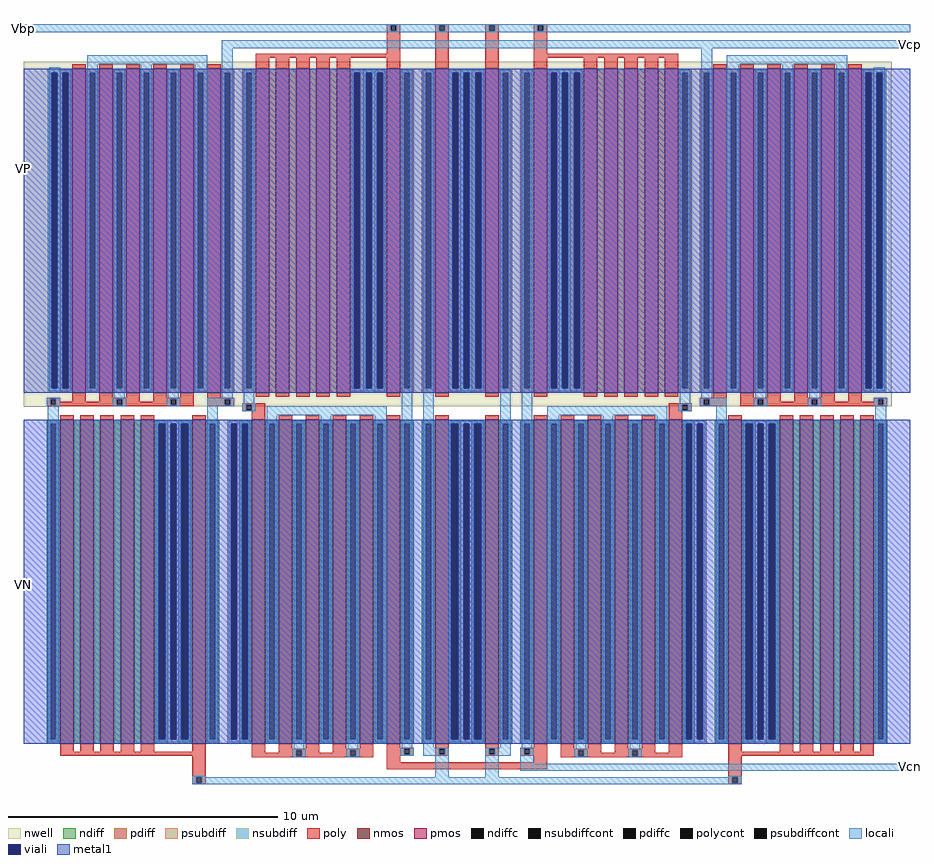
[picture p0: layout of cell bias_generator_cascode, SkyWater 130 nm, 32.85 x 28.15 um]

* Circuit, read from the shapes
.subckt bias_generator_cascode Vbp Vcp VP Vcn VN
XM1 n1 n2 n3 VN sky130_fd_pr__nfet_01v8 w=12 l=0.5
XM2 n4 n2 n1 VN sky130_fd_pr__nfet_01v8 w=12 l=0.5
XM3 n5 n2 n4 VN sky130_fd_pr__nfet_01v8 w=12 l=0.5
XM4 n6 n2 n5 VN sky130_fd_pr__nfet_01v8 w=12 l=0.5
XM5 VN n2 n6 VN sky130_fd_pr__nfet_01v8 w=12 l=0.5
XM6 Vcp n2 VN VN sky130_fd_pr__nfet_01v8 w=12 l=0.5 m=2
XM7 n7 n8 VN VN sky130_fd_pr__nfet_01v8 w=12 l=0.5
XM8 n8 n8 n7 VN sky130_fd_pr__nfet_01v8 w=12 l=0.5 m=4
XM9 Vcn Vcn n7 VN sky130_fd_pr__nfet_01v8 w=12 l=0.5
XM10 VN n2 n2 VN sky130_fd_pr__nfet_01v8 w=12 l=0.5 m=2
XM11 n9 Vcn Vcn VN sky130_fd_pr__nfet_01v8 w=12 l=0.5
XM12 n10 n10 n9 VN sky130_fd_pr__nfet_01v8 w=12 l=0.5 m=4
XM13 VN n10 n9 VN sky130_fd_pr__nfet_01v8 w=12 l=0.5
XM14 n11 n2 VN VN sky130_fd_pr__nfet_01v8 w=12 l=0.5
XM15 n12 n2 n11 VN sky130_fd_pr__nfet_01v8 w=12 l=0.5
XM16 n13 n2 n12 VN sky130_fd_pr__nfet_01v8 w=12 l=0.5
XM17 n14 n2 n13 VN sky130_fd_pr__nfet_01v8 w=12 l=0.5
XM18 n15 n2 n14 VN sky130_fd_pr__nfet_01v8 w=12 l=0.5
XM19 n16 n3 VP VP sky130_fd_pr__pfet_01v8 w=12 l=0.5
XM20 n3 n3 n16 VP sky130_fd_pr__pfet_01v8 w=12 l=0.5 m=4
XM21 Vcp Vcp n16 VP sky130_fd_pr__pfet_01v8 w=12 l=0.5
XM22 n17 Vbp n8 VP sky130_fd_pr__pfet_01v8 w=12 l=0.5
XM23 n18 Vbp n17 VP sky130_fd_pr__pfet_01v8 w=12 l=0.5
XM24 n19 Vbp n18 VP sky130_fd_pr__pfet_01v8 w=12 l=0.5
XM25 n20 Vbp n19 VP sky130_fd_pr__pfet_01v8 w=12 l=0.5
XM26 VP Vbp n20 VP sky130_fd_pr__pfet_01v8 w=12 l=0.5
XM27 Vcn Vbp VP VP sky130_fd_pr__pfet_01v8 w=12 l=0.5 m=2
XM28 VP Vbp n2 VP sky130_fd_pr__pfet_01v8 w=12 l=0.5 m=2
XM29 n21 Vbp VP VP sky130_fd_pr__pfet_01v8 w=12 l=0.5
XM30 n22 Vbp n21 VP sky130_fd_pr__pfet_01v8 w=12 l=0.5
XM31 n23 Vbp n22 VP sky130_fd_pr__pfet_01v8 w=12 l=0.5
XM32 n24 Vbp n23 VP sky130_fd_pr__pfet_01v8 w=12 l=0.5
XM33 n10 Vbp n24 VP sky130_fd_pr__pfet_01v8 w=12 l=0.5
XM34 n25 Vcp Vcp VP sky130_fd_pr__pfet_01v8 w=12 l=0.5
XM35 n15 n15 n25 VP sky130_fd_pr__pfet_01v8 w=12 l=0.5 m=4
XM36 VP n15 n25 VP sky130_fd_pr__pfet_01v8 w=12 l=0.5
.ends

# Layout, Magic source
magic
tech sky130A
<< nwell >>
rect -200 1845 3015 3120
rect -200 1842 -66 1845
<< nmos >>
rect -65 595 -15 1795
rect 10 595 60 1795
rect 85 595 135 1795
rect 160 595 210 1795
rect 235 595 285 1795
rect 425 595 475 1795
rect 645 595 695 1795
rect 745 595 795 1795
rect 845 595 895 1795
rect 945 595 995 1795
rect 1045 595 1095 1795
rect 1145 595 1195 1795
rect 1325 595 1375 1795
rect 1510 595 1560 1795
rect 1690 595 1740 1795
rect 1790 595 1840 1795
rect 1890 595 1940 1795
rect 1990 595 2040 1795
rect 2090 595 2140 1795
rect 2190 595 2240 1795
rect 2410 595 2460 1795
rect 2600 595 2650 1795
rect 2675 595 2725 1795
rect 2750 595 2800 1795
rect 2825 595 2875 1795
rect 2900 595 2950 1795
<< pmos >>
rect -20 1895 30 3095
rect 80 1895 130 3095
rect 180 1895 230 3095
rect 280 1895 330 3095
rect 380 1895 430 3095
rect 480 1895 530 3095
rect 660 1895 710 3095
rect 735 1895 785 3095
rect 810 1895 860 3095
rect 885 1895 935 3095
rect 960 1895 1010 3095
rect 1145 1895 1195 3095
rect 1325 1895 1375 3095
rect 1510 1895 1560 3095
rect 1690 1895 1740 3095
rect 1875 1895 1925 3095
rect 1950 1895 2000 3095
rect 2025 1895 2075 3095
rect 2100 1895 2150 3095
rect 2175 1895 2225 3095
rect 2355 1895 2405 3095
rect 2455 1895 2505 3095
rect 2555 1895 2605 3095
rect 2655 1895 2705 3095
rect 2755 1895 2805 3095
rect 2855 1895 2905 3095
<< ndiff >>
rect -115 1780 -65 1795
rect -115 610 -100 1780
rect -80 610 -65 1780
rect -115 595 -65 610
rect -15 595 10 1795
rect 60 595 85 1795
rect 135 595 160 1795
rect 210 595 235 1795
rect 285 1780 335 1795
rect 375 1780 425 1795
rect 285 610 300 1780
rect 320 610 335 1780
rect 375 610 390 1780
rect 410 610 425 1780
rect 285 595 335 610
rect 375 595 425 610
rect 475 1780 525 1795
rect 475 610 490 1780
rect 510 610 525 1780
rect 475 595 525 610
rect 600 1780 645 1795
rect 600 610 610 1780
rect 630 610 645 1780
rect 600 595 645 610
rect 695 1780 745 1795
rect 695 610 710 1780
rect 730 610 745 1780
rect 695 595 745 610
rect 795 1780 845 1795
rect 795 610 810 1780
rect 830 610 845 1780
rect 795 595 845 610
rect 895 1780 945 1795
rect 895 610 910 1780
rect 930 610 945 1780
rect 895 595 945 610
rect 995 1780 1045 1795
rect 995 610 1010 1780
rect 1030 610 1045 1780
rect 995 595 1045 610
rect 1095 1780 1145 1795
rect 1095 610 1110 1780
rect 1130 610 1145 1780
rect 1095 595 1145 610
rect 1195 1780 1245 1795
rect 1195 610 1210 1780
rect 1230 610 1245 1780
rect 1195 595 1245 610
rect 1275 1780 1325 1795
rect 1275 610 1290 1780
rect 1310 610 1325 1780
rect 1275 595 1325 610
rect 1375 1780 1420 1795
rect 1460 1780 1510 1795
rect 1375 610 1385 1780
rect 1405 610 1420 1780
rect 1460 610 1475 1780
rect 1495 610 1510 1780
rect 1375 595 1420 610
rect 1460 595 1510 610
rect 1560 1780 1610 1795
rect 1560 610 1575 1780
rect 1595 610 1610 1780
rect 1560 595 1610 610
rect 1640 1780 1690 1795
rect 1640 610 1655 1780
rect 1675 610 1690 1780
rect 1640 595 1690 610
rect 1740 1780 1790 1795
rect 1740 610 1755 1780
rect 1775 610 1790 1780
rect 1740 595 1790 610
rect 1840 1780 1890 1795
rect 1840 610 1855 1780
rect 1875 610 1890 1780
rect 1840 595 1890 610
rect 1940 1780 1990 1795
rect 1940 610 1955 1780
rect 1975 610 1990 1780
rect 1940 595 1990 610
rect 2040 1780 2090 1795
rect 2040 610 2055 1780
rect 2075 610 2090 1780
rect 2040 595 2090 610
rect 2140 1780 2190 1795
rect 2140 610 2155 1780
rect 2175 610 2190 1780
rect 2140 595 2190 610
rect 2240 1780 2285 1795
rect 2240 610 2255 1780
rect 2275 610 2285 1780
rect 2240 595 2285 610
rect 2360 1780 2410 1795
rect 2360 610 2375 1780
rect 2395 610 2410 1780
rect 2360 595 2410 610
rect 2460 1780 2510 1795
rect 2550 1780 2600 1795
rect 2460 610 2475 1780
rect 2495 610 2510 1780
rect 2550 610 2565 1780
rect 2585 610 2600 1780
rect 2460 595 2510 610
rect 2550 595 2600 610
rect 2650 595 2675 1795
rect 2725 595 2750 1795
rect 2800 595 2825 1795
rect 2875 595 2900 1795
rect 2950 1780 3000 1795
rect 2950 610 2965 1780
rect 2985 610 3000 1780
rect 2950 595 3000 610
<< pdiff >>
rect -65 3080 -20 3095
rect -65 1910 -55 3080
rect -35 1910 -20 3080
rect -65 1895 -20 1910
rect 30 3080 80 3095
rect 30 1910 45 3080
rect 65 1910 80 3080
rect 30 1895 80 1910
rect 130 3080 180 3095
rect 130 1910 145 3080
rect 165 1910 180 3080
rect 130 1895 180 1910
rect 230 3080 280 3095
rect 230 1910 245 3080
rect 265 1910 280 3080
rect 230 1895 280 1910
rect 330 3080 380 3095
rect 330 1910 345 3080
rect 365 1910 380 3080
rect 330 1895 380 1910
rect 430 3080 480 3095
rect 430 1910 445 3080
rect 465 1910 480 3080
rect 430 1895 480 1910
rect 530 3080 580 3095
rect 530 1910 545 3080
rect 565 1910 580 3080
rect 530 1895 580 1910
rect 610 3080 660 3095
rect 610 1910 625 3080
rect 645 1910 660 3080
rect 610 1895 660 1910
rect 710 1895 735 3095
rect 785 1895 810 3095
rect 860 1895 885 3095
rect 935 1895 960 3095
rect 1010 3080 1060 3095
rect 1100 3080 1145 3095
rect 1010 1910 1025 3080
rect 1045 1910 1060 3080
rect 1100 1910 1110 3080
rect 1130 1910 1145 3080
rect 1010 1895 1060 1910
rect 1100 1895 1145 1910
rect 1195 3080 1245 3095
rect 1195 1910 1210 3080
rect 1230 1910 1245 3080
rect 1195 1895 1245 1910
rect 1275 3080 1325 3095
rect 1275 1910 1290 3080
rect 1310 1910 1325 3080
rect 1275 1895 1325 1910
rect 1375 3080 1420 3095
rect 1460 3080 1510 3095
rect 1375 1910 1390 3080
rect 1410 1910 1420 3080
rect 1460 1910 1475 3080
rect 1495 1910 1510 3080
rect 1375 1895 1420 1910
rect 1460 1895 1510 1910
rect 1560 3080 1610 3095
rect 1560 1910 1575 3080
rect 1595 1910 1610 3080
rect 1560 1895 1610 1910
rect 1640 3080 1690 3095
rect 1640 1910 1655 3080
rect 1675 1910 1690 3080
rect 1640 1895 1690 1910
rect 1740 3080 1785 3095
rect 1825 3080 1875 3095
rect 1740 1910 1755 3080
rect 1775 1910 1785 3080
rect 1825 1910 1840 3080
rect 1860 1910 1875 3080
rect 1740 1895 1785 1910
rect 1825 1895 1875 1910
rect 1925 1895 1950 3095
rect 2000 1895 2025 3095
rect 2075 1895 2100 3095
rect 2150 1895 2175 3095
rect 2225 3080 2275 3095
rect 2225 1910 2240 3080
rect 2260 1910 2275 3080
rect 2225 1895 2275 1910
rect 2305 3080 2355 3095
rect 2305 1910 2320 3080
rect 2340 1910 2355 3080
rect 2305 1895 2355 1910
rect 2405 3080 2455 3095
rect 2405 1910 2420 3080
rect 2440 1910 2455 3080
rect 2405 1895 2455 1910
rect 2505 3080 2555 3095
rect 2505 1910 2520 3080
rect 2540 1910 2555 3080
rect 2505 1895 2555 1910
rect 2605 3080 2655 3095
rect 2605 1910 2620 3080
rect 2640 1910 2655 3080
rect 2605 1895 2655 1910
rect 2705 3080 2755 3095
rect 2705 1910 2720 3080
rect 2740 1910 2755 3080
rect 2705 1895 2755 1910
rect 2805 3080 2855 3095
rect 2805 1910 2820 3080
rect 2840 1910 2855 3080
rect 2805 1895 2855 1910
rect 2905 3080 2950 3095
rect 2905 1910 2920 3080
rect 2940 1910 2950 3080
rect 2905 1895 2950 1910
<< ndiffc >>
rect -100 610 -80 1780
rect 300 610 320 1780
rect 390 610 410 1780
rect 490 610 510 1780
rect 610 610 630 1780
rect 710 610 730 1780
rect 810 610 830 1780
rect 910 610 930 1780
rect 1010 610 1030 1780
rect 1110 610 1130 1780
rect 1210 610 1230 1780
rect 1290 610 1310 1780
rect 1385 610 1405 1780
rect 1475 610 1495 1780
rect 1575 610 1595 1780
rect 1655 610 1675 1780
rect 1755 610 1775 1780
rect 1855 610 1875 1780
rect 1955 610 1975 1780
rect 2055 610 2075 1780
rect 2155 610 2175 1780
rect 2255 610 2275 1780
rect 2375 610 2395 1780
rect 2475 610 2495 1780
rect 2565 610 2585 1780
rect 2965 610 2985 1780
<< pdiffc >>
rect -55 1910 -35 3080
rect 45 1910 65 3080
rect 145 1910 165 3080
rect 245 1910 265 3080
rect 345 1910 365 3080
rect 445 1910 465 3080
rect 545 1910 565 3080
rect 625 1910 645 3080
rect 1025 1910 1045 3080
rect 1110 1910 1130 3080
rect 1210 1910 1230 3080
rect 1290 1910 1310 3080
rect 1390 1910 1410 3080
rect 1475 1910 1495 3080
rect 1575 1910 1595 3080
rect 1655 1910 1675 3080
rect 1755 1910 1775 3080
rect 1840 1910 1860 3080
rect 2240 1910 2260 3080
rect 2320 1910 2340 3080
rect 2420 1910 2440 3080
rect 2520 1910 2540 3080
rect 2620 1910 2640 3080
rect 2720 1910 2740 3080
rect 2820 1910 2840 3080
rect 2920 1910 2940 3080
<< psubdiff >>
rect 335 1780 375 1795
rect 335 610 345 1780
rect 365 610 375 1780
rect 335 595 375 610
rect 555 1780 600 1795
rect 555 610 570 1780
rect 590 610 600 1780
rect 555 595 600 610
rect 1420 1780 1460 1795
rect 1420 610 1430 1780
rect 1450 610 1460 1780
rect 1420 595 1460 610
rect 2285 1780 2330 1795
rect 2285 610 2295 1780
rect 2315 610 2330 1780
rect 2285 595 2330 610
rect 2510 1780 2550 1795
rect 2510 610 2520 1780
rect 2540 610 2550 1780
rect 2510 595 2550 610
<< nsubdiff >>
rect -110 3080 -65 3095
rect -110 1910 -95 3080
rect -75 1910 -65 3080
rect -110 1895 -65 1910
rect 1060 3080 1100 3095
rect 1060 1910 1070 3080
rect 1090 1910 1100 3080
rect 1060 1895 1100 1910
rect 1420 3080 1460 3095
rect 1420 1910 1430 3080
rect 1450 1910 1460 3080
rect 1420 1895 1460 1910
rect 1785 3080 1825 3095
rect 1785 1910 1795 3080
rect 1815 1910 1825 3080
rect 1785 1895 1825 1910
rect 2950 3080 2995 3095
rect 2950 1910 2960 3080
rect 2980 1910 2995 3080
rect 2950 1895 2995 1910
<< psubdiffcont >>
rect 345 610 365 1780
rect 570 610 590 1780
rect 1430 610 1450 1780
rect 2295 610 2315 1780
rect 2520 610 2540 1780
<< nsubdiffcont >>
rect -95 1910 -75 3080
rect 1070 1910 1090 3080
rect 1430 1910 1450 3080
rect 1795 1910 1815 3080
rect 2960 1910 2980 3080
<< poly >>
rect 1145 3255 1195 3260
rect 1145 3235 1160 3255
rect 1180 3235 1195 3255
rect 1145 3150 1195 3235
rect 660 3135 1195 3150
rect -20 3095 30 3110
rect 80 3095 130 3110
rect 180 3095 230 3110
rect 280 3095 330 3110
rect 380 3095 430 3110
rect 480 3095 530 3110
rect 660 3095 710 3135
rect 735 3095 785 3135
rect 810 3095 860 3135
rect 885 3095 935 3135
rect 960 3095 1010 3135
rect 1145 3095 1195 3135
rect 1325 3255 1375 3260
rect 1325 3235 1340 3255
rect 1360 3235 1375 3255
rect 1325 3095 1375 3235
rect 1510 3255 1560 3260
rect 1510 3235 1525 3255
rect 1545 3235 1560 3255
rect 1510 3095 1560 3235
rect 1690 3255 1740 3260
rect 1690 3235 1705 3255
rect 1725 3235 1740 3255
rect 1690 3150 1740 3235
rect 1690 3135 2225 3150
rect 1690 3095 1740 3135
rect 1875 3095 1925 3135
rect 1950 3095 2000 3135
rect 2025 3095 2075 3135
rect 2100 3095 2150 3135
rect 2175 3095 2225 3135
rect 2355 3095 2405 3110
rect 2455 3095 2505 3110
rect 2555 3095 2605 3110
rect 2655 3095 2705 3110
rect 2755 3095 2805 3110
rect 2855 3095 2905 3110
rect -115 1870 -65 1875
rect -115 1850 -100 1870
rect -80 1860 -65 1870
rect -20 1860 30 1895
rect 80 1875 130 1895
rect 180 1875 230 1895
rect 80 1870 230 1875
rect 80 1860 145 1870
rect -80 1850 145 1860
rect 165 1860 230 1870
rect 280 1875 330 1895
rect 380 1875 430 1895
rect 280 1870 430 1875
rect 280 1860 345 1870
rect 165 1850 345 1860
rect 365 1850 430 1870
rect -115 1845 430 1850
rect 480 1875 530 1895
rect 660 1880 710 1895
rect 735 1880 785 1895
rect 810 1880 860 1895
rect 885 1880 935 1895
rect 960 1880 1010 1895
rect 1145 1880 1195 1895
rect 1325 1880 1375 1895
rect 1510 1880 1560 1895
rect 1690 1880 1740 1895
rect 1875 1880 1925 1895
rect 1950 1880 2000 1895
rect 2025 1880 2075 1895
rect 2100 1880 2150 1895
rect 2175 1880 2225 1895
rect 2355 1875 2405 1895
rect 480 1870 580 1875
rect 480 1850 545 1870
rect 565 1850 580 1870
rect 2305 1870 2405 1875
rect 480 1845 580 1850
rect 610 1850 695 1855
rect 610 1830 625 1850
rect 645 1830 695 1850
rect 610 1825 695 1830
rect -65 1795 -15 1810
rect 10 1795 60 1810
rect 85 1795 135 1810
rect 160 1795 210 1810
rect 235 1795 285 1810
rect 425 1795 475 1810
rect 645 1795 695 1825
rect 2190 1850 2275 1855
rect 2190 1830 2240 1850
rect 2260 1830 2275 1850
rect 2305 1850 2320 1870
rect 2340 1850 2405 1870
rect 2305 1845 2405 1850
rect 2455 1875 2505 1895
rect 2555 1875 2605 1895
rect 2455 1870 2605 1875
rect 2455 1850 2520 1870
rect 2540 1860 2605 1870
rect 2655 1875 2705 1895
rect 2755 1875 2805 1895
rect 2655 1870 2805 1875
rect 2655 1860 2720 1870
rect 2540 1850 2720 1860
rect 2740 1860 2805 1870
rect 2855 1860 2905 1895
rect 2950 1870 3000 1875
rect 2950 1860 2965 1870
rect 2740 1850 2965 1860
rect 2985 1850 3000 1870
rect 2455 1845 3000 1850
rect 2190 1825 2275 1830
rect 745 1795 795 1810
rect 845 1795 895 1810
rect 945 1795 995 1810
rect 1045 1795 1095 1810
rect 1145 1795 1195 1810
rect 1325 1795 1375 1810
rect 1510 1795 1560 1810
rect 1690 1795 1740 1810
rect 1790 1795 1840 1810
rect 1890 1795 1940 1810
rect 1990 1795 2040 1810
rect 2090 1795 2140 1810
rect 2190 1795 2240 1825
rect 2410 1795 2460 1810
rect 2600 1795 2650 1810
rect 2675 1795 2725 1810
rect 2750 1795 2800 1810
rect 2825 1795 2875 1810
rect 2900 1795 2950 1810
rect -65 565 -15 595
rect 10 565 60 595
rect 85 565 135 595
rect 160 565 210 595
rect 235 565 285 595
rect 425 565 475 595
rect -65 550 475 565
rect 425 470 475 550
rect 645 560 695 595
rect 745 575 795 595
rect 845 575 895 595
rect 745 570 895 575
rect 745 560 810 570
rect 645 550 810 560
rect 830 560 895 570
rect 945 575 995 595
rect 1045 575 1095 595
rect 945 570 1095 575
rect 945 560 1010 570
rect 830 550 1010 560
rect 1030 550 1095 570
rect 645 545 1095 550
rect 1145 580 1195 595
rect 1145 575 1245 580
rect 1145 555 1210 575
rect 1230 555 1245 575
rect 1145 550 1245 555
rect 1325 575 1375 595
rect 1325 555 1340 575
rect 1360 555 1375 575
rect 1325 550 1375 555
rect 1510 575 1560 595
rect 1690 580 1740 595
rect 1510 555 1525 575
rect 1545 555 1560 575
rect 1510 550 1560 555
rect 1640 575 1740 580
rect 1640 555 1655 575
rect 1675 555 1740 575
rect 1640 550 1740 555
rect 1145 525 1195 550
rect 1690 525 1740 550
rect 1790 575 1840 595
rect 1890 575 1940 595
rect 1790 570 1940 575
rect 1790 550 1855 570
rect 1875 560 1940 570
rect 1990 575 2040 595
rect 2090 575 2140 595
rect 1990 570 2140 575
rect 1990 560 2055 570
rect 1875 550 2055 560
rect 2075 560 2140 570
rect 2190 560 2240 595
rect 2075 550 2240 560
rect 1790 545 2240 550
rect 2410 565 2460 595
rect 2600 565 2650 595
rect 2675 565 2725 595
rect 2750 565 2800 595
rect 2825 565 2875 595
rect 2900 565 2950 595
rect 2410 550 2950 565
rect 1145 500 1740 525
rect 425 450 440 470
rect 460 450 475 470
rect 425 445 475 450
rect 2410 470 2460 550
rect 2410 450 2425 470
rect 2445 450 2460 470
rect 2410 445 2460 450
<< polycont >>
rect 1160 3235 1180 3255
rect 1340 3235 1360 3255
rect 1525 3235 1545 3255
rect 1705 3235 1725 3255
rect -100 1850 -80 1870
rect 145 1850 165 1870
rect 345 1850 365 1870
rect 545 1850 565 1870
rect 625 1830 645 1850
rect 2240 1830 2260 1850
rect 2320 1850 2340 1870
rect 2520 1850 2540 1870
rect 2720 1850 2740 1870
rect 2965 1850 2985 1870
rect 810 550 830 570
rect 1010 550 1030 570
rect 1210 555 1230 575
rect 1340 555 1360 575
rect 1525 555 1545 575
rect 1655 555 1675 575
rect 1855 550 1875 570
rect 2055 550 2075 570
rect 440 450 460 470
rect 2425 450 2445 470
<< locali >>
rect -200 3255 3085 3260
rect -200 3235 1160 3255
rect 1180 3235 1340 3255
rect 1360 3235 1525 3255
rect 1545 3235 1705 3255
rect 1725 3235 3085 3255
rect -200 3230 3085 3235
rect 535 3170 3085 3200
rect 35 3110 480 3145
rect -105 3090 -65 3100
rect -105 3080 -25 3090
rect -105 1910 -95 3080
rect -75 1910 -55 3080
rect -35 1910 -25 3080
rect -105 1900 -25 1910
rect 35 3080 75 3110
rect 35 1910 45 3080
rect 65 1910 75 3080
rect 35 1900 75 1910
rect 135 3080 175 3090
rect 135 1910 145 3080
rect 165 1910 175 3080
rect 135 1875 175 1910
rect 235 3080 275 3110
rect 235 1910 245 3080
rect 265 1910 275 3080
rect 235 1900 275 1910
rect 335 3080 375 3090
rect 335 1910 345 3080
rect 365 1910 375 3080
rect 335 1875 375 1910
rect 435 3080 480 3110
rect 435 1910 445 3080
rect 465 1910 480 3080
rect 435 1900 480 1910
rect 535 3080 575 3170
rect 535 1910 545 3080
rect 565 1910 575 3080
rect 535 1875 575 1910
rect 615 3080 655 3090
rect 615 1910 625 3080
rect 645 1910 655 3080
rect -115 1870 -65 1875
rect -115 1850 -100 1870
rect -80 1850 -65 1870
rect -115 1845 -65 1850
rect 130 1870 180 1875
rect 130 1850 145 1870
rect 165 1850 180 1870
rect 130 1845 180 1850
rect 330 1870 380 1875
rect 330 1850 345 1870
rect 365 1850 380 1870
rect 330 1845 380 1850
rect 480 1870 580 1875
rect 480 1850 545 1870
rect 565 1850 580 1870
rect 615 1855 655 1910
rect 1015 3080 1140 3090
rect 1015 1910 1025 3080
rect 1045 1910 1070 3080
rect 1090 1910 1110 3080
rect 1130 1910 1140 3080
rect 1015 1900 1140 1910
rect 1200 3080 1240 3090
rect 1200 1910 1210 3080
rect 1230 1910 1240 3080
rect 480 1845 580 1850
rect 610 1850 660 1855
rect -110 1780 -70 1845
rect -110 610 -100 1780
rect -80 610 -70 1780
rect -110 600 -70 610
rect 290 1780 420 1790
rect 290 610 300 1780
rect 325 610 345 1780
rect 365 610 385 1780
rect 410 610 420 1780
rect 290 600 420 610
rect 480 1780 520 1845
rect 610 1830 625 1850
rect 645 1830 660 1850
rect 610 1825 660 1830
rect 700 1810 1145 1845
rect 480 610 490 1780
rect 510 610 520 1780
rect 480 600 520 610
rect 560 1780 640 1790
rect 560 610 570 1780
rect 590 610 610 1780
rect 630 610 640 1780
rect 560 600 640 610
rect 700 1780 740 1810
rect 700 610 710 1780
rect 730 610 740 1780
rect 700 600 740 610
rect 800 1780 840 1790
rect 800 610 810 1780
rect 830 610 840 1780
rect 800 575 840 610
rect 900 1780 940 1810
rect 900 610 910 1780
rect 930 610 940 1780
rect 900 600 940 610
rect 1000 1780 1040 1790
rect 1000 610 1010 1780
rect 1030 610 1040 1780
rect 1000 575 1040 610
rect 1100 1780 1145 1810
rect 1100 610 1110 1780
rect 1130 610 1145 1780
rect 1100 600 1145 610
rect 1200 1780 1240 1910
rect 1200 610 1210 1780
rect 1230 610 1240 1780
rect 1200 580 1240 610
rect 1280 3080 1320 3090
rect 1280 1910 1290 3080
rect 1310 1910 1320 3080
rect 1280 1780 1320 1910
rect 1375 3080 1505 3090
rect 1375 1910 1390 3080
rect 1410 1910 1430 3080
rect 1450 1910 1475 3080
rect 1495 1910 1505 3080
rect 1375 1900 1505 1910
rect 1565 3080 1605 3090
rect 1565 1910 1575 3080
rect 1595 1910 1605 3080
rect 1280 610 1290 1780
rect 1310 610 1320 1780
rect 1280 580 1320 610
rect 1375 1780 1505 1790
rect 1375 610 1385 1780
rect 1410 610 1430 1780
rect 1450 610 1470 1780
rect 1495 610 1505 1780
rect 1375 600 1505 610
rect 1565 1780 1605 1910
rect 1565 610 1575 1780
rect 1595 610 1605 1780
rect 1565 580 1605 610
rect 1645 3080 1685 3090
rect 1645 1910 1655 3080
rect 1675 1910 1685 3080
rect 1645 1780 1685 1910
rect 1745 3080 1870 3090
rect 1745 1910 1755 3080
rect 1775 1910 1795 3080
rect 1815 1910 1840 3080
rect 1860 1910 1870 3080
rect 1745 1900 1870 1910
rect 2230 3080 2270 3090
rect 2230 1910 2240 3080
rect 2260 1910 2270 3080
rect 2230 1855 2270 1910
rect 2310 3080 2350 3170
rect 2310 1910 2320 3080
rect 2340 1910 2350 3080
rect 2310 1875 2350 1910
rect 2405 3110 2850 3145
rect 2405 3080 2450 3110
rect 2405 1910 2420 3080
rect 2440 1910 2450 3080
rect 2405 1900 2450 1910
rect 2510 3080 2550 3090
rect 2510 1910 2520 3080
rect 2540 1910 2550 3080
rect 2510 1875 2550 1910
rect 2610 3080 2650 3110
rect 2610 1910 2620 3080
rect 2640 1910 2650 3080
rect 2610 1900 2650 1910
rect 2710 3080 2750 3090
rect 2710 1910 2720 3080
rect 2740 1910 2750 3080
rect 2710 1875 2750 1910
rect 2810 3080 2850 3110
rect 2950 3090 2990 3100
rect 2810 1910 2820 3080
rect 2840 1910 2850 3080
rect 2810 1900 2850 1910
rect 2910 3080 2990 3090
rect 2910 1910 2920 3080
rect 2940 1910 2960 3080
rect 2980 1910 2990 3080
rect 2910 1900 2990 1910
rect 2305 1870 2405 1875
rect 2225 1850 2275 1855
rect 1645 610 1655 1780
rect 1675 610 1685 1780
rect 1645 580 1685 610
rect 1740 1810 2185 1845
rect 2225 1830 2240 1850
rect 2260 1830 2275 1850
rect 2305 1850 2320 1870
rect 2340 1850 2405 1870
rect 2305 1845 2405 1850
rect 2505 1870 2555 1875
rect 2505 1850 2520 1870
rect 2540 1850 2555 1870
rect 2505 1845 2555 1850
rect 2705 1870 2755 1875
rect 2705 1850 2720 1870
rect 2740 1850 2755 1870
rect 2705 1845 2755 1850
rect 2950 1870 3000 1875
rect 2950 1850 2965 1870
rect 2985 1850 3000 1870
rect 2950 1845 3000 1850
rect 2225 1825 2275 1830
rect 1740 1780 1785 1810
rect 1740 610 1755 1780
rect 1775 610 1785 1780
rect 1740 600 1785 610
rect 1845 1780 1885 1790
rect 1845 610 1855 1780
rect 1875 610 1885 1780
rect 1195 575 1245 580
rect 795 570 845 575
rect 795 550 810 570
rect 830 550 845 570
rect 795 545 845 550
rect 995 570 1045 575
rect 995 550 1010 570
rect 1030 550 1045 570
rect 1195 555 1210 575
rect 1230 555 1245 575
rect 1195 550 1245 555
rect 1280 575 1375 580
rect 1280 555 1340 575
rect 1360 555 1375 575
rect 1280 550 1375 555
rect 995 545 1045 550
rect 425 470 475 475
rect 1325 470 1375 550
rect 1510 575 1605 580
rect 1510 555 1525 575
rect 1545 555 1605 575
rect 1510 550 1605 555
rect 1640 575 1690 580
rect 1845 575 1885 610
rect 1945 1780 1985 1810
rect 1945 610 1955 1780
rect 1975 610 1985 1780
rect 1945 600 1985 610
rect 2045 1780 2085 1790
rect 2045 610 2055 1780
rect 2075 610 2085 1780
rect 2045 575 2085 610
rect 2145 1780 2185 1810
rect 2145 610 2155 1780
rect 2175 610 2185 1780
rect 2145 600 2185 610
rect 2245 1780 2325 1790
rect 2245 610 2255 1780
rect 2275 610 2295 1780
rect 2315 610 2325 1780
rect 2245 600 2325 610
rect 2365 1780 2405 1845
rect 2365 610 2375 1780
rect 2395 610 2405 1780
rect 2365 600 2405 610
rect 2465 1780 2595 1790
rect 2465 610 2475 1780
rect 2500 610 2520 1780
rect 2540 610 2560 1780
rect 2585 610 2595 1780
rect 2465 600 2595 610
rect 2955 1780 2995 1845
rect 2955 610 2965 1780
rect 2985 610 2995 1780
rect 2955 600 2995 610
rect 1640 555 1655 575
rect 1675 555 1690 575
rect 1510 470 1560 550
rect 1640 520 1690 555
rect 1840 570 1890 575
rect 1840 550 1855 570
rect 1875 550 1890 570
rect 1840 545 1890 550
rect 2040 570 2090 575
rect 2040 550 2055 570
rect 2075 550 2090 570
rect 2040 545 2090 550
rect 1640 495 3085 520
rect 2410 470 2460 475
rect 425 450 440 470
rect 460 450 2425 470
rect 2445 450 2460 470
rect 425 445 2460 450
<< viali >>
rect -95 1910 -75 3080
rect -55 1910 -35 3080
rect 1025 1910 1045 3080
rect 1070 1910 1090 3080
rect 1110 1910 1130 3080
rect 300 610 320 1780
rect 320 610 325 1780
rect 345 610 365 1780
rect 385 610 390 1780
rect 390 610 410 1780
rect 570 610 590 1780
rect 610 610 630 1780
rect 1390 1910 1410 3080
rect 1430 1910 1450 3080
rect 1475 1910 1495 3080
rect 1385 610 1405 1780
rect 1405 610 1410 1780
rect 1430 610 1450 1780
rect 1470 610 1475 1780
rect 1475 610 1495 1780
rect 1755 1910 1775 3080
rect 1795 1910 1815 3080
rect 1840 1910 1860 3080
rect 2920 1910 2940 3080
rect 2960 1910 2980 3080
rect 2255 610 2275 1780
rect 2295 610 2315 1780
rect 2475 610 2495 1780
rect 2495 610 2500 1780
rect 2520 610 2540 1780
rect 2560 610 2565 1780
rect 2565 610 2585 1780
<< metal1 >>
rect -200 3080 3085 3095
rect -200 1910 -95 3080
rect -75 1910 -55 3080
rect -35 1910 1025 3080
rect 1045 1910 1070 3080
rect 1090 1910 1110 3080
rect 1130 1910 1390 3080
rect 1410 1910 1430 3080
rect 1450 1910 1475 3080
rect 1495 1910 1755 3080
rect 1775 1910 1795 3080
rect 1815 1910 1840 3080
rect 1860 1910 2920 3080
rect 2940 1910 2960 3080
rect 2980 1910 3085 3080
rect -200 1895 3085 1910
rect -200 1780 3085 1795
rect -200 610 300 1780
rect 325 610 345 1780
rect 365 610 385 1780
rect 410 610 570 1780
rect 590 610 610 1780
rect 630 610 1385 1780
rect 1410 610 1430 1780
rect 1450 610 1470 1780
rect 1495 610 2255 1780
rect 2275 610 2295 1780
rect 2315 610 2475 1780
rect 2500 610 2520 1780
rect 2540 610 2560 1780
rect 2585 1250 3085 1780
rect 2585 1220 3084 1250
rect 2585 610 3085 1220
rect -200 595 3085 610
<< labels >>
rlabel metal1 -200 2725 -200 2725 7 VP
port 3 w
rlabel metal1 -200 1185 -200 1185 7 VN
port 9 w
rlabel locali 3085 3185 3085 3185 3 Vcp
port 2 w
rlabel locali -200 3245 -200 3245 7 Vbp
port 1 w
rlabel locali 3085 508 3085 508 3 Vcn
port 5 w
<< end >>
